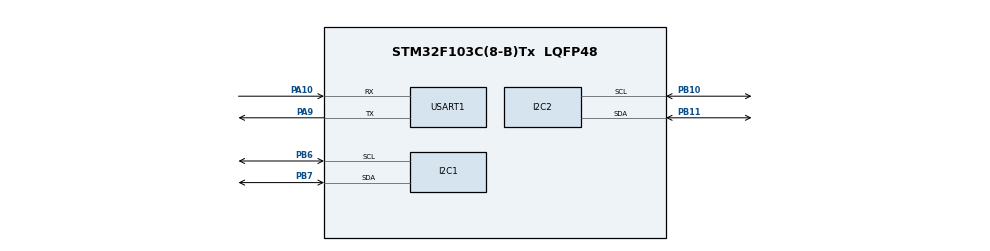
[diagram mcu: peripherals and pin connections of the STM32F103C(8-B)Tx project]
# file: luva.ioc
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Mcu.Family=STM32F1
Mcu.Name=STM32F103C(8-B)Tx
Mcu.Package=LQFP48
NVIC.PriorityGroup=NVIC_PRIORITYGROUP_4
PA10.Mode=Asynchronous
PA10.Signal=USART1_RX
PA13.Mode=Serial_Wire
PA13.Signal=SYS_JTMS-SWDIO
PA14.Mode=Serial_Wire
PA14.Signal=SYS_JTCK-SWCLK
PA9.Mode=Asynchronous
PA9.Signal=USART1_TX
PB10.Mode=I2C
PB10.Signal=I2C2_SCL
PB11.Mode=I2C
PB11.Signal=I2C2_SDA
PB6.Mode=I2C
PB6.Signal=I2C1_SCL
PB7.Mode=I2C
PB7.Signal=I2C1_SDA
ProjectManager.HeapSize=0x200
ProjectManager.StackSize=0x400
ProjectManager.TargetToolchain=TrueSTUDIO
RCC.APB1Freq_Value=8000000
RCC.APB2Freq_Value=8000000
USART1.VirtualMode=VM_ASYNC
board=custom

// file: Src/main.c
/* USER CODE BEGIN Header */
/**
 ******************************************************************************
 * @file           : main.c
 * @brief          : Main program body
 ******************************************************************************
 * @attention
 *
 * <h2><center>&copy; Copyright (c) 2019 STMicroelectronics.
 * All rights reserved.</center></h2>
 *
 * This software component is licensed by ST under BSD 3-Clause license,
 * the "License"; You may not use this file except in compliance with the
 * License. You may obtain a copy of the License at:
 *                        opensource.org/licenses/BSD-3-Clause
 *
 ******************************************************************************
 */
/* USER CODE END Header */

#include "main.h"
#include "math.h"
#include "string.h"
/* USER CODE BEGIN Includes */
#include "sd_hal_mpu6050.h"
/* USER CODE END Includes */

I2C_HandleTypeDef hi2c1;
I2C_HandleTypeDef hi2c2;

UART_HandleTypeDef huart1;

/* USER CODE BEGIN PV */
SD_MPU6050 mpu;
/* USER CODE END PV */

void SystemClock_Config(void);
static void MX_GPIO_Init(void);
static void MX_I2C1_Init(void);
static void MX_I2C2_Init(void);
static void MX_USART1_UART_Init(void);

/* USER CODE BEGIN 0 */
int main(void)
{
	/* USER CODE BEGIN 1 */
	SD_MPU6050_Result result, result2;
	int i2cs[2] = {&hi2c2,&hi2c1};
	int cont;
	char str[8],resp='a';
	int16_t acelerometro_x,acelerometro_y,acelerometro_z;
	int16_t giroscopio_x,giroscopio_y,giroscopio_z;
	/*
	float angle_pitch1, angle_roll1;
	float angle_pitch2, angle_roll2;
	long acelerometro1_x_aux,acelerometro1_y_aux,acelerometro1_z_aux;
	long giroscopio1_x_aux,giroscopio1_y_aux,giroscopio1_z_aux;
	long acelerometro2_x_aux,acelerometro2_y_aux,acelerometro2_z_aux;
	long giroscopio2_x_aux,giroscopio2_y_aux,giroscopio2_z_aux;
	 */
	//float angle_pitch_acc,angle_roll_acc,acc_total_vector;
	//float temperatura;
	//int16_t g_x[2][2],g_y[2][2],g_z[2][2];
	//double teta,psi,phi;
	//char t[4],ps[4],ph[4];

	HAL_Init();
	/* Configure the system clock */
	SystemClock_Config();
	/* Initialize all configured peripherals */
	MX_GPIO_Init();
	MX_I2C1_Init();
	MX_I2C2_Init();
	MX_USART1_UART_Init();
	HAL_Delay(10000);
	HAL_UART_Transmit(&huart1,(uint8_t *)"\nBem vindo(a) a FistFenzy versão beta. \nDigite i para começar.",64, 100);
	while(resp != 'i'){
		HAL_UART_Receive(&huart1,&resp,1,100);
	}
	/* USER CODE BEGIN 2 */
	/*
  HAL_UART_Transmit(&huart1,(uint8_t *)"Repouse sua mão sobre uma superficie plana e com a outra ligue o dispositivo",78, 100);

  for(cont = 0;cont<1000;++cont){
		  result  = SD_MPU6050_Init(&hi2c1,&mpu,SD_MPU6050_Device_0,SD_MPU6050_Accelerometer_2G,SD_MPU6050_Gyroscope_250s);
		  result2 = SD_MPU6050_Init(&hi2c2,&mpu,SD_MPU6050_Device_0,SD_MPU6050_Accelerometer_2G,SD_MPU6050_Gyroscope_250s);
		  SD_MPU6050_ReadAll(&hi2c2,&mpu);
		  acelerometro1_x_aux  += mpu.Accelerometer_X;
		  acelerometro1_y_aux  += mpu.Accelerometer_Y;
		  acelerometro1_z_aux  += mpu.Accelerometer_Z;
		  giroscopio1_x_aux    += mpu.Gyroscope_X;
		  giroscopio1_y_aux    += mpu.Gyroscope_Y;
		  giroscopio1_z_aux    += mpu.Gyroscope_Z;
		  SD_MPU6050_ReadAll(&hi2c1,&mpu);
		  acelerometro2_x_aux  += mpu.Accelerometer_X;
		  acelerometro2_y_aux  += mpu.Accelerometer_Y;
		  acelerometro2_z_aux  += mpu.Accelerometer_Z;
		  giroscopio2_x_aux    += mpu.Gyroscope_X;
		  giroscopio2_y_aux    += mpu.Gyroscope_Y;
		  giroscopio2_z_aux    += mpu.Gyroscope_Z;
		  if(!(cont%100))HAL_UART_Transmit(&huart1,(uint8_t *)".",3, 100);

  }
	  acelerometro1_x_aux  /= 1000;
	  acelerometro1_y_aux  /= 1000;
	  acelerometro1_z_aux  /= 1000;
	  giroscopio1_x_aux    /= 1000;
	  giroscopio1_y_aux    /= 1000;
	  giroscopio1_z_aux    /= 1000;
	  acelerometro2_x_aux  /= 1000;
	  acelerometro2_y_aux  /= 1000;
	  acelerometro2_z_aux  /= 1000;
	  giroscopio2_x_aux    /= 1000;
	  giroscopio2_y_aux    /= 1000;
	  giroscopio2_z_aux    /= 1000;
	  HAL_UART_Transmit(&huart1,(uint8_t *)"Concluido",11, 100);
	 */
	/* USER CODE END 2 */

	/* Infinite loop */
	/* USER CODE BEGIN WHILE */
	while (1)
	{
		for(cont = 0; cont < 2;++cont){
			result  = SD_MPU6050_Init(i2cs[cont],&mpu,SD_MPU6050_Device_0,SD_MPU6050_Accelerometer_2G,SD_MPU6050_Gyroscope_250s);
			SD_MPU6050_ReadAll(i2cs[cont],&mpu);
			acelerometro_x  = mpu.Accelerometer_X;
			acelerometro_y  = mpu.Accelerometer_Y;
			acelerometro_z  = mpu.Accelerometer_Z;
			giroscopio_x    = mpu.Gyroscope_X;
			giroscopio_y    = mpu.Gyroscope_Y;
			giroscopio_z    = mpu.Gyroscope_Z;
			if(cont == 0){
				HAL_UART_Transmit(&huart1,(uint8_t *)"\n ==== PALMA DA MÃO ==== ",28, 100);
			}else{
				HAL_UART_Transmit(&huart1,(uint8_t *)"\n ==== DEDO ",12, 100);
				itoa(cont,str ,10);
				HAL_UART_Transmit(&huart1,(uint8_t *)str, strlen(str),100);
				HAL_UART_Transmit(&huart1,(uint8_t *)" ==== ",8, 100);
			}
			itoa(acelerometro_x,str ,10);
			HAL_UART_Transmit(&huart1,(uint8_t *)"\n Ax = ",8, 100); HAL_UART_Transmit(&huart1,(uint8_t *)str,strlen(str),100);
			HAL_Delay(50);
			itoa(acelerometro_y,str,10);
			HAL_UART_Transmit(&huart1,(uint8_t *)" |Ay = ",7, 100);  HAL_UART_Transmit(&huart1,(uint8_t *)str, strlen(str),100);
			HAL_Delay(50);
			itoa(acelerometro_z,str,10);
			HAL_UART_Transmit(&huart1,(uint8_t *)" |Az = ",7, 100);  HAL_UART_Transmit(&huart1,(uint8_t *)str, strlen(str),100);
			HAL_Delay(50);
			itoa(giroscopio_x,str,10);
			HAL_UART_Transmit(&huart1,(uint8_t *)"\n Gx = ",8, 100); HAL_UART_Transmit(&huart1,(uint8_t *)str, strlen(str),100);
			HAL_Delay(50);
			itoa(giroscopio_y,str,10);
			HAL_UART_Transmit(&huart1,(uint8_t *)" |Gy = ",7, 100);  HAL_UART_Transmit(&huart1,(uint8_t *)str, strlen(str),100);
			HAL_Delay(50);
			itoa(giroscopio_z,str,10);
			HAL_UART_Transmit(&huart1,(uint8_t *)" |Gz = ",7, 100);  HAL_UART_Transmit(&huart1,(uint8_t *)str, strlen(str),100);
			HAL_Delay(50);
			HAL_Delay(1000);

		}
		/*
		result  = SD_MPU6050_Init(&hi2c1,&mpu,SD_MPU6050_Device_0,SD_MPU6050_Accelerometer_2G,SD_MPU6050_Gyroscope_250s);
		result2 = SD_MPU6050_Init(&hi2c2,&mpu,SD_MPU6050_Device_0,SD_MPU6050_Accelerometer_2G,SD_MPU6050_Gyroscope_250s);
		SD_MPU6050_ReadAll(&hi2c2,&mpu);

		SD_MPU6050_ReadAll(&hi2c1,&mpu);
		acelerometro_x  = mpu.Accelerometer_X;
		acelerometro_y  = mpu.Accelerometer_Y;
		acelerometro_z  = mpu.Accelerometer_Z;
		giroscopio_x    = mpu.Gyroscope_X;
		giroscopio_y    = mpu.Gyroscope_Y;
		giroscopio_z    = mpu.Gyroscope_Z;*/
		/*
	  //Gyro angle calculations . Note 0.0000611 = 1 / (250Hz x 65.5)
	  angle_pitch1 = giroscopio1_x * 0.0000611;
	  angle_roll1  = giroscopio1_x * 0.0000611;
	  //0.000001066 = 0.0000611 * (3.142(PI) / 180degr) The Arduino sin function is in radians
	  angle_pitch1 += angle_roll1 * sin(giroscopio1_z* 0.000001066);
	  angle_roll1 -= angle_pitch1 * sin(giroscopio1_z * 0.000001066);
	  acc_total_vector = sqrt((acelerometro1_x*acelerometro1_x)+(acelerometro1_y*acelerometro1_y)+(acelerometro1_z*acelerometro1_z));  //Calculate the total accelerometer vector
	 //57.296 = 1 / (3.142 / 180) The Arduino asin function is in radians
	  angle_pitch_acc = asin((float)acelerometro1_y/acc_total_vector)* 57.296;       //Calculate the pitch angle
	  angle_roll_acc = asin((float)acelerometro1_x/acc_total_vector)* -57.296;
		 */
		/*
	  itoa(acelerometro_x,str ,10);
	  HAL_UART_Transmit(&huart1,(uint8_t *)"\n Ax = ",8, 100); HAL_UART_Transmit(&huart1,(uint8_t *)str,strlen(str),100);
	  HAL_Delay(50);
	  itoa(acelerometro_y,str,10);
	  HAL_UART_Transmit(&huart1,(uint8_t *)" |Ay = ",7, 100);  HAL_UART_Transmit(&huart1,(uint8_t *)str, strlen(str),100);
	  HAL_Delay(50);
	  itoa(acelerometro_z,str,10);
	  HAL_UART_Transmit(&huart1,(uint8_t *)" |Az = ",7, 100);  HAL_UART_Transmit(&huart1,(uint8_t *)str, strlen(str),100);
	  HAL_Delay(50);
	  itoa(giroscopio_x,str,10);
	  HAL_UART_Transmit(&huart1,(uint8_t *)"\n Gx = ",8, 100); HAL_UART_Transmit(&huart1,(uint8_t *)str, strlen(str),100);
	  HAL_Delay(50);
	  itoa(giroscopio_y,str,10);
	  HAL_UART_Transmit(&huart1,(uint8_t *)" |Gy = ",7, 100);  HAL_UART_Transmit(&huart1,(uint8_t *)str, strlen(str),100);
	  HAL_Delay(50);
	  itoa(giroscopio_z,str,10);
	  HAL_UART_Transmit(&huart1,(uint8_t *)" |Gz = ",7, 100);  HAL_UART_Transmit(&huart1,(uint8_t *)str, strlen(str),100);
	  HAL_Delay(50);

	  /*
	  char buffer[16];
	  int i = 15;
		//  HAL_UART_Transmit(&huart1, (uint8_t*)buffer, sprintf(buffer, "%d", i), 500);
		//	HAL_UART_Transmit(&huart1,(uint8_t *)"TITULAR: Thierry\nAPARTAMENTO: 2\nEntrada Liberada\n\n",52, 100);
    	/* USER CODE END WHILE */
		/*
	for(dedo = 0;dedo < 1 ;++dedo){
		  	  for(cont = 0; cont<2;++cont){
				  SD_MPU6050_ReadAccelerometer(i2cs[dedo],&mpu);
				  g_x[dedo][cont] = mpu.Accelerometer_X - ajuste;
				  HAL_UART_Transmit(&huart1, (uint8_t*)buffer, sprintf(buffer, "%d\n", g_x), 500);
				  g_y[dedo][cont] = mpu.Accelerometer_Y - ajuste;
				  HAL_UART_Transmit(&huart1, (uint8_t*)buffer, sprintf(buffer, "%d\n", g_y), 500);
				  g_z[dedo][cont] = mpu.Accelerometer_Z - a;
				  HAL_UART_Transmit(&huart1, (uint8_t*)buffer, sprintf(buffer, "%d\n", g_z), 500);
		  	  }

			  HAL_Delay(125);
	  }
	  for(dedo = 0; dedo <1;++dedo){
		  teta = atan(g_x[dedo][0] / sqrt(pow(g_y[dedo][0], 2) + pow(g_z[dedo][0], 2))) * (180 / PI) - atan(g_x[dedo][1] / sqrt(pow(g_y[dedo][1], 2) + pow(g_z[dedo][1], 2))) * (180 / PI);
		  psi  = atan(g_y[dedo][0] / sqrt(pow(g_x[dedo][0], 2) + pow(g_z[dedo][0], 2))) * (180 / PI)  - atan(g_y[dedo][1] / sqrt(pow(g_x[dedo][1], 2) + pow(g_z[dedo][1], 2))) * (180 / PI);
		  phi  = atan(sqrt(pow(g_x[dedo][0],2)+pow(g_y[dedo][0],2))/g_z[dedo][0])*(180/PI) - atan(sqrt(pow(g_x[dedo][1],2)+pow(g_y[dedo][1],2))/g_z[dedo][1])*(180/PI);
		  ftoa(teta,&t,2);
		  ftoa(psi,&ps,2);
		  ftoa(phi,&ph,2);
	  }
	  //int_to_string(g_x, valueStr, 4);
	  //strcopy(msg, valueStr, 44, 47);
	  //Add this value to the message
	  //}
	}
}
void SystemClock_Config(void)
{
	RCC_OscInitTypeDef RCC_OscInitStruct = {0};
	RCC_ClkInitTypeDef RCC_ClkInitStruct = {0};

	/** Initializes the CPU, AHB and APB busses clocks
	 */
	RCC_OscInitStruct.OscillatorType = RCC_OSCILLATORTYPE_HSI;
	RCC_OscInitStruct.HSIState = RCC_HSI_ON;
	RCC_OscInitStruct.HSICalibrationValue = RCC_HSICALIBRATION_DEFAULT;
	RCC_OscInitStruct.PLL.PLLState = RCC_PLL_NONE;
	if (HAL_RCC_OscConfig(&RCC_OscInitStruct) != HAL_OK)
	{
		Error_Handler();
	}
	/** Initializes the CPU, AHB and APB busses clocks
	 */
	RCC_ClkInitStruct.ClockType = RCC_CLOCKTYPE_HCLK|RCC_CLOCKTYPE_SYSCLK
			|RCC_CLOCKTYPE_PCLK1|RCC_CLOCKTYPE_PCLK2;
	RCC_ClkInitStruct.SYSCLKSource = RCC_SYSCLKSOURCE_HSI;
	RCC_ClkInitStruct.AHBCLKDivider = RCC_SYSCLK_DIV1;
	RCC_ClkInitStruct.APB1CLKDivider = RCC_HCLK_DIV1;
	RCC_ClkInitStruct.APB2CLKDivider = RCC_HCLK_DIV1;

	if (HAL_RCC_ClockConfig(&RCC_ClkInitStruct, FLASH_LATENCY_0) != HAL_OK)
	{
		Error_Handler();
	}
}

static void MX_I2C1_Init(void)
{

	hi2c1.Instance = I2C1;
	hi2c1.Init.ClockSpeed = 100000;
	hi2c1.Init.DutyCycle = I2C_DUTYCYCLE_2;
	hi2c1.Init.OwnAddress1 = 0;
	hi2c1.Init.AddressingMode = I2C_ADDRESSINGMODE_7BIT;
	hi2c1.Init.DualAddressMode = I2C_DUALADDRESS_DISABLE;
	hi2c1.Init.OwnAddress2 = 0;
	hi2c1.Init.GeneralCallMode = I2C_GENERALCALL_DISABLE;
	hi2c1.Init.NoStretchMode = I2C_NOSTRETCH_DISABLE;
	if (HAL_I2C_Init(&hi2c1) != HAL_OK)
	{
		Error_Handler();
	}

}

static void MX_I2C2_Init(void)
{

	hi2c2.Instance = I2C2;
	hi2c2.Init.ClockSpeed = 100000;
	hi2c2.Init.DutyCycle = I2C_DUTYCYCLE_2;
	hi2c2.Init.OwnAddress1 = 0;
	hi2c2.Init.AddressingMode = I2C_ADDRESSINGMODE_7BIT;
	hi2c2.Init.DualAddressMode = I2C_DUALADDRESS_DISABLE;
	hi2c2.Init.OwnAddress2 = 0;
	hi2c2.Init.GeneralCallMode = I2C_GENERALCALL_DISABLE;
	hi2c2.Init.NoStretchMode = I2C_NOSTRETCH_DISABLE;
	if (HAL_I2C_Init(&hi2c2) != HAL_OK)
	{
		Error_Handler();
	}

}

static void MX_USART1_UART_Init(void)
{

	huart1.Instance = USART1;
	huart1.Init.BaudRate = 9600;
	huart1.Init.WordLength = UART_WORDLENGTH_8B;
	huart1.Init.StopBits = UART_STOPBITS_1;
	huart1.Init.Parity = UART_PARITY_NONE;
	huart1.Init.Mode = UART_MODE_TX_RX;
	huart1.Init.HwFlowCtl = UART_HWCONTROL_NONE;
	huart1.Init.OverSampling = UART_OVERSAMPLING_16;
	if (HAL_UART_Init(&huart1) != HAL_OK)
	{
		Error_Handler();
	}

}

static void MX_GPIO_Init(void)
{

	/* GPIO Ports Clock Enable */
	__HAL_RCC_GPIOB_CLK_ENABLE();
	__HAL_RCC_GPIOA_CLK_ENABLE();

}

void Error_Handler(void)
{
}

/************************ (C) COPYRIGHT STMicroelectronics *****END OF FILE****/
